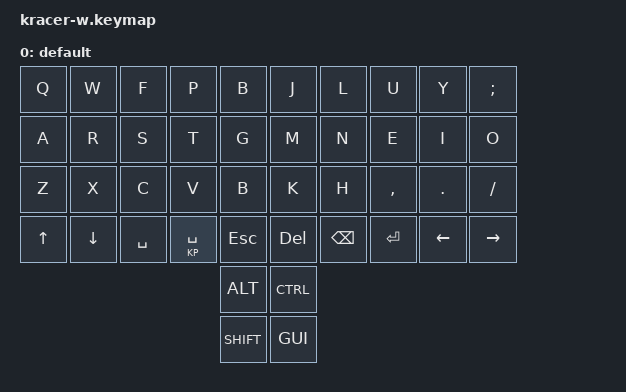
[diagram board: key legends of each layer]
/*
 * Copyright (c) 2020 The ZMK Contributors
 *
 * SPDX-License-Identifier: MIT
 */

#include <behaviors.dtsi>
#include <dt-bindings/zmk/keys.h>
#include <dt-bindings/zmk/bt.h>

/ {
        keymap {
                compatible = "zmk,keymap";

                default {
                        bindings = <
   &kp Q     &kp W     &kp F   &kp P &kp B        &kp J &kp L  &kp U     &kp Y   &kp SEMI
   &kp A     &kp R     &kp S   &kp T &kp G        &kp M &kp N  &kp E     &kp I   &kp O
   &kp Z     &kp X     &kp C   &kp V &kp B        &kp K &kp H  &kp COMMA &kp DOT &kp FSLH
   &kp UP &kp DOWN &kp SPACE &KP SPACE &kp ESC    &kp DEL &kp BSPC &kp RET &kp LEFT &kp RIGHT
                                       &kp ALT    &kp CTRL
                                       &kp SHIFT  &kp GUI
                        >;
                };
        };
};
